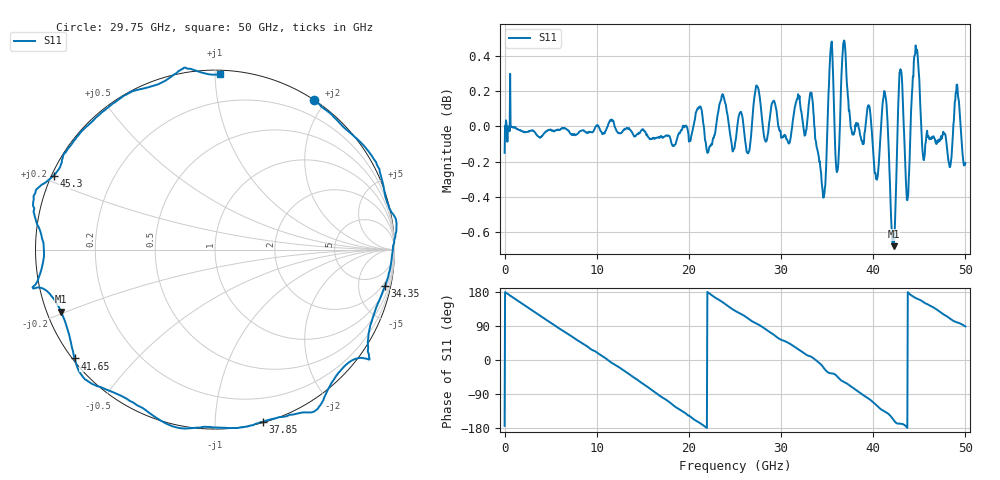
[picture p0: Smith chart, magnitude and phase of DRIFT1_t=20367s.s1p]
!Created with skrf (http://scikit-rf.org).
# Hz S RI R 50.0
!freq ReS11 ImS11
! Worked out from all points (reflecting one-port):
!   1001 points, 300 kHz to 50 GHz, reference 50 ohm
!   lowest |S11| = -0.7 dB at 42.2 GHz (marker M1), VSWR 25.55, Z = 2.03 - j9.7 ohm
!   phase of S11 starts at -174 deg and turns -818 deg over the sweep
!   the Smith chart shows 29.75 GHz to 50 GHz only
!   S11 on the Smith chart (normalised r, x): 29.75 GHz: 0.00, +1.86; 34.35 GHz: 1.36, -9.20; 37.85 GHz: 0.01, -1.32; 41.65 GHz: 0.01, -0.34; 45.3 GHz: 0.01, +0.22; 50 GHz: 0.02, +1.03
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300000  -0.977 -0.1064
1.450291e9  -0.9122 0.4051
3.25028e9  -0.5916 0.8016
6.250262e9  0.2021 0.9782
9.500243e9  0.8924 0.4424
1.250022e10  0.9319 -0.35
1.580021e10  0.2375 -0.9628
1.74002e10  -0.2232 -0.9681
1.875019e10  -0.5983 -0.7924
2.150017e10  -0.9936 -0.1518
2.350016e10  -0.9229 0.4283
2.500015e10  -0.633 0.7594
2.740014e10  -0.095 1.022
2.975012e10  0.5505 0.8343
3.125011e10  0.7878 0.6201
3.31501e10  1.007 0.1717
3.435009e10  0.9476 -0.2041
3.520009e10  0.8532 -0.5728
3.750008e10  0.371 -0.9331
3.785007e10  0.2683 -0.9585
3.960006e10  -0.2371 -0.9846
4.165005e10  -0.7824 -0.6065
4.220005e10  -0.8574 -0.3463
4.290004e10  -1.014 -0.2145
4.375004e10  -0.9544 0.0158
4.530003e10  -0.8983 0.4124
4.770001e10  -0.4883 0.8671
5e10  0.0252 0.9759
